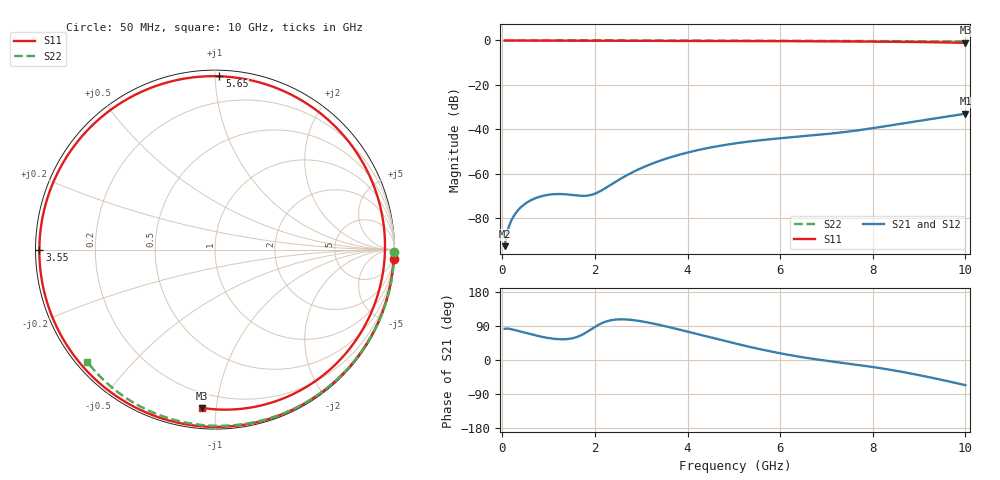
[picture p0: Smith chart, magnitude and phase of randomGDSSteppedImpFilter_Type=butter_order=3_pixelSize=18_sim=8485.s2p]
! freq	dB(S11)	phase(S11)	dB(S12)	phase(S12)
!  dB(S21)	phase(S21)	dB(S22)	phase(S22)
!S-par simulation data
#  GHz  S  DB  R 50
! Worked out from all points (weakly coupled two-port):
!   200 points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, 50 MHz to 10 GHz, reference 50 ohm
!   highest |S21| = -32.96 dB at 10 GHz (marker M1); lowest = -92.5 dB at 50 MHz (marker M2)
!   lowest |S11| = -1.1 dB at 10 GHz (marker M3), VSWR 16.37, Z = 5.62 - j45.7 ohm
!   |S11| at or under -10 dB: nowhere
!   |S22| runs from -0.5 to 0.0 dB; largest |S21 - S12| = 0
!   S11 on the Smith chart (normalised r, x): 50 MHz: 3, -40; 3.55 GHz: 0.01, -0.00; 5.65 GHz: 0.04, +1.02; 10 GHz: 0.11, -0.91
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0.05  -0.03 -2.9  -92.50 82.2  -92.50 82.2  -0.01 -0.8
0.2  -0.04 -11.8  -80.75 81.2  -80.75 81.2  -0.01 -3.2
0.5  -0.05 -29.4  -73.34 71.6  -73.34 71.6  -0.01 -8.0
0.95  -0.07 -55.0  -69.54 59.0  -69.54 59.0  -0.02 -15.1
1.35  -0.09 -76.8  -69.15 54.8  -69.15 54.8  -0.03 -21.4
1.75  -0.11 -97.5  -69.88 68.3  -69.88 68.3  -0.04 -27.7
2.05  -0.13 -112.3  -68.46 90.9  -68.46 90.9  -0.04 -32.3
2.6  -0.15 -138.1  -61.65 107.3  -61.65 107.3  -0.05 -40.7
3  -0.16 -156.0  -57.42 102.2  -57.42 102.2  -0.06 -46.7
3.4  -0.18 -173.5  -54.12 92.4  -54.12 92.4  -0.07 -52.6
3.55  -0.19 -180.0  -53.07 88.2  -53.07 88.2  -0.07 -54.8
4.25  -0.22 150.0  -49.18 67.2  -49.18 67.2  -0.09 -64.9
5.05  -0.26 115.2  -46.22 43.0  -46.22 43.0  -0.12 -76.1
5.65  -0.30 88.6  -44.69 26.3  -44.69 26.3  -0.14 -84.2
6.15  -0.33 66.1  -43.71 14.3  -43.71 14.3  -0.16 -90.9
6.7  -0.37 41.2  -42.70 3.2  -42.70 3.2  -0.19 -98.0
7.1  -0.41 23.3  -41.88 -3.7  -41.88 -3.7  -0.21 -103.1
7.5  -0.46 5.8  -40.91 -10.0  -40.91 -10.0  -0.24 -108.2
7.9  -0.51 -11.4  -39.76 -16.7  -39.76 -16.7  -0.27 -113.2
8.35  -0.59 -30.1  -38.32 -25.2  -38.32 -25.2  -0.30 -118.7
9.2  -0.79 -63.9  -35.52 -44.9  -35.52 -44.9  -0.38 -129.1
10  -1.06 -94.8  -32.96 -66.5  -32.96 -66.5  -0.47 -138.7
